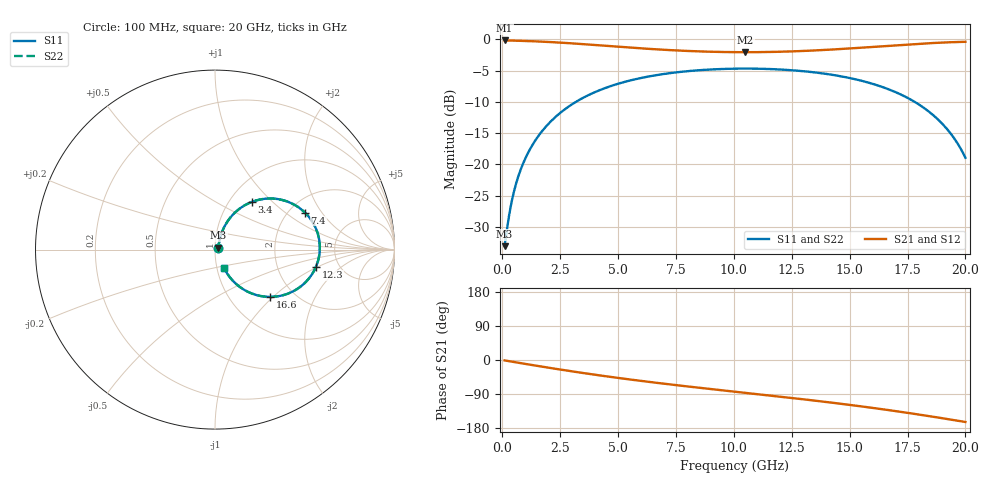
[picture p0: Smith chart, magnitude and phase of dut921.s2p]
! Touchstone file exported from HFSS 2026.1.0
!  File:  C:/ffzhzh/LocalFiles/Ansys_Project_Files/temp_train_TSV_RDL_921_1783279288_38820.aedt
!  Generated:  03:30:14 AM Jul  6, 2026
!  Design:  TSV_RDL
!  Project:  temp_train_TSV_RDL_921_1783279288_38820
! Variables:
!  h_bsmrdl = 2.32um
!  h_ox = 20um
!  h_rdl = 5um
!  h_sub = 74.37um
!  h_tmrdl = 3um
!  h_tsv = 74.37um
!  h_via = 3um
!  l_bsmrdl = 249.61um
!  l_sub = 2678.49um
!  l_tmrdl = 358.76um
!  m_sub = 200um
!  pitch = 52.94um
!  r_tsv = 10.88um
!  s_tmrdl = 10um
!  w_bsmrdl = 14.17um
!  w_sub = 500um
!  w_tmrdl = 17.37um
!  x_tsv_center1 = 367.445um
!  x_tsv_center2 = 631.225um
!  x_tsv_center3 = 1007.355um
!  x_tsv_center4 = 1271.135um
!  x_tsv_center5 = 1647.265um
!  x_tsv_center6 = 1911.045um
# GHz S MA R 50.000000
! Terminal data exported
! Port[1] = TM_RDL1_1_T1
! Port[2] = TM_RDL5_1_T1
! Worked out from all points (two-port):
!   200 points, 100 MHz to 20 GHz, reference 50 ohm
!   highest |S21| = -0.17 dB at 100 MHz (marker M1); lowest = -2.0 dB at 10.5 GHz (marker M2)
!   |S21| within 3 dB of the highest: start of sweep to end of sweep
!   lowest |S11| = -33.1 dB at 100 MHz (marker M3), VSWR 1.05, Z = 51.9 + j1.17 ohm
!   |S11| at or under -10 dB: start of sweep to 3.176 GHz; 17.81 GHz to end of sweep
!   |S22| runs from -33.1 to -4.7 dB; largest |S21 - S12| = 9e-14
!   S11 on the Smith chart (normalised r, x): 100 MHz: 1.04, +0.02; 3.4 GHz: 1.26, +0.75; 7.4 GHz: 2.43, +1.42; 12.3 GHz: 3.35, -0.96; 16.6 GHz: 1.52, -0.96; 20 GHz: 1.08, -0.22
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0.1  0.0222 30.6  0.981 -1.1  0.981 -1.1  0.0222 30.6
! Gamma 0 0 0 0
! Port Impedance 50 0 50 0
0.3  0.03975 57.2  0.9798 -3.2  0.9798 -3.2  0.03975 57.2
0.5  0.06035 64.8  0.9779 -5.3  0.9779 -5.3  0.06035 64.8
0.8  0.09157 68.0  0.9743 -8.4  0.9743 -8.4  0.09157 68.0
1.1  0.1225 68.1  0.9702 -11.4  0.9702 -11.4  0.1225 68.1
2.1  0.2214 62.7  0.9521 -21.3  0.9521 -21.3  0.2214 62.7
3.4  0.3341 52.5  0.9193 -33.5  0.9193 -33.5  0.3341 52.5
3.5  0.3419 51.7  0.9165 -34.4  0.9165 -34.4  0.3419 51.7
5  0.4419 39.8  0.8742 -47.3  0.8742 -47.3  0.4419 39.8
6.8  0.5232 26.5  0.83 -61.2  0.83 -61.2  0.5232 26.5
7.4  0.542 22.3  0.8184 -65.6  0.8184 -65.6  0.542 22.4
10.1  0.5837 4.5  0.7908 -84.0  0.7908 -84.0  0.5836 4.5
10.5  0.5843 1.9  0.7904 -86.7  0.7904 -86.7  0.5843 1.9
12.3  0.5703 -9.8  0.7998 -98.8  0.7998 -98.8  0.5703 -9.8
13.4  0.5472 -17.2  0.8146 -106.5  0.8146 -106.5  0.5472 -17.1
15.1  0.4868 -29.2  0.8489 -119.2  0.8489 -119.2  0.4868 -29.2
16.6  0.4046 -40.7  0.8869 -131.5  0.8869 -131.5  0.4046 -40.6
16.7  0.398 -41.4  0.8895 -132.3  0.8895 -132.3  0.398 -41.4
17.8  0.3173 -50.2  0.9178 -142.2  0.9178 -142.2  0.3173 -50.2
18.7  0.2397 -57.2  0.9379 -150.7  0.9379 -150.7  0.2397 -57.2
19.4  0.1731 -61.9  0.95 -157.5  0.95 -157.5  0.1731 -61.9
20  0.1131 -63.8  0.9571 -163.5  0.9571 -163.5  0.1132 -63.8
